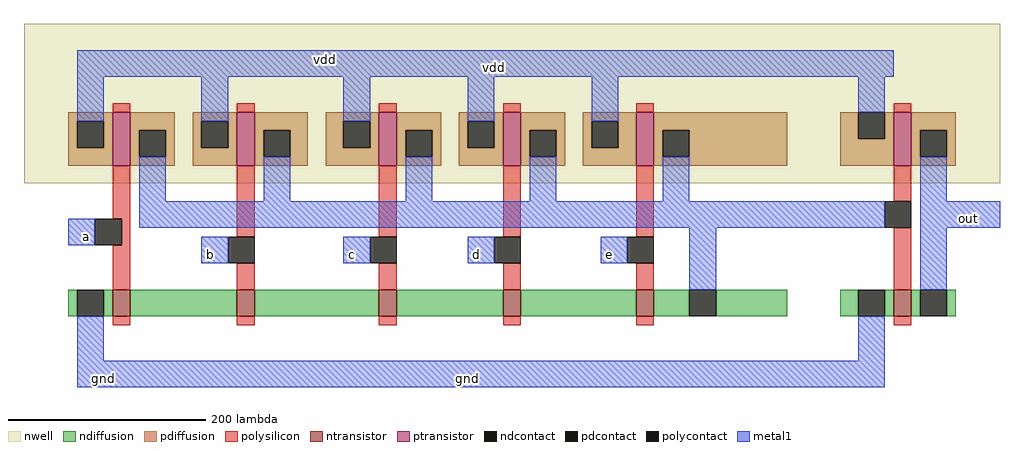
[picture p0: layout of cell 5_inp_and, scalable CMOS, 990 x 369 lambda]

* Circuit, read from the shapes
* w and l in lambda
.subckt 5_inp_and a b c d e gnd out vdd
M1 n1 a gnd VSUBS nfet w=27 l=18
M2 n2 b n1 VSUBS nfet w=27 l=18
M3 n3 c n2 VSUBS nfet w=27 l=18
M4 n4 d n3 VSUBS nfet w=27 l=18
M5 n5 e n4 VSUBS nfet w=27 l=18
M6 out n5 gnd VSUBS nfet w=27 l=18
M7 n5 a vdd n6 pfet w=54 l=18
M8 n5 b vdd n6 pfet w=54 l=18
M9 n5 c vdd n6 pfet w=54 l=18
M10 n5 d vdd n6 pfet w=54 l=18
M11 n5 e vdd n6 pfet w=54 l=18
M12 out n5 vdd n6 pfet w=54 l=18
.ends

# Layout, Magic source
magic
tech scmos
magscale 9 1
<< nwell >>
rect -17 -4 93 14
<< ntransistor >>
rect -7 -19 -5 -16
rect 7 -19 9 -16
rect 23 -19 25 -16
rect 37 -19 39 -16
rect 52 -19 54 -16
rect 81 -19 83 -16
<< ptransistor >>
rect -7 -2 -5 4
rect 7 -2 9 4
rect 23 -2 25 4
rect 37 -2 39 4
rect 52 -2 54 4
rect 81 -2 83 4
<< ndiffusion >>
rect -12 -19 -11 -16
rect -8 -19 -7 -16
rect -5 -19 7 -16
rect 9 -19 23 -16
rect 25 -19 37 -16
rect 39 -19 52 -16
rect 54 -19 58 -16
rect 61 -19 69 -16
rect 75 -19 77 -16
rect 80 -19 81 -16
rect 83 -19 84 -16
rect 87 -19 88 -16
<< pdiffusion >>
rect -12 3 -7 4
rect -12 0 -11 3
rect -8 0 -7 3
rect -12 -2 -7 0
rect -5 2 0 4
rect -5 -1 -4 2
rect -1 -1 0 2
rect -5 -2 0 -1
rect 2 3 7 4
rect 2 0 3 3
rect 6 0 7 3
rect 2 -2 7 0
rect 9 2 15 4
rect 9 -1 10 2
rect 13 -1 15 2
rect 9 -2 15 -1
rect 17 3 23 4
rect 17 0 19 3
rect 22 0 23 3
rect 17 -2 23 0
rect 25 2 30 4
rect 25 -1 26 2
rect 29 -1 30 2
rect 25 -2 30 -1
rect 32 3 37 4
rect 32 0 33 3
rect 36 0 37 3
rect 32 -2 37 0
rect 39 2 44 4
rect 39 -1 40 2
rect 43 -1 44 2
rect 39 -2 44 -1
rect 46 3 52 4
rect 46 0 47 3
rect 50 0 52 3
rect 46 -2 52 0
rect 54 2 69 4
rect 54 -1 55 2
rect 58 -1 69 2
rect 54 -2 69 -1
rect 75 1 77 4
rect 80 1 81 4
rect 75 -2 81 1
rect 83 2 88 4
rect 83 -1 84 2
rect 87 -1 88 2
rect 83 -2 88 -1
<< ndcontact >>
rect -11 -19 -8 -16
rect 58 -19 61 -16
rect 77 -19 80 -16
rect 84 -19 87 -16
<< pdcontact >>
rect -11 0 -8 3
rect -4 -1 -1 2
rect 3 0 6 3
rect 10 -1 13 2
rect 19 0 22 3
rect 26 -1 29 2
rect 33 0 36 3
rect 40 -1 43 2
rect 47 0 50 3
rect 55 -1 58 2
rect 77 1 80 4
rect 84 -1 87 2
<< polysilicon >>
rect -7 4 -5 5
rect 7 4 9 5
rect 23 4 25 5
rect 37 4 39 5
rect 52 4 54 5
rect 81 4 83 5
rect -7 -8 -5 -2
rect -6 -11 -5 -8
rect 7 -10 9 -2
rect 23 -10 25 -2
rect 37 -10 39 -2
rect 52 -10 54 -2
rect 81 -6 83 -2
rect -7 -16 -5 -11
rect 7 -16 9 -13
rect 23 -16 25 -13
rect 37 -16 39 -13
rect 52 -16 54 -13
rect 81 -16 83 -9
rect -7 -20 -5 -19
rect 7 -20 9 -19
rect 23 -20 25 -19
rect 37 -20 39 -19
rect 52 -20 54 -19
rect 81 -20 83 -19
<< polycontact >>
rect -9 -11 -6 -8
rect 80 -9 83 -6
rect 6 -13 9 -10
rect 22 -13 25 -10
rect 36 -13 39 -10
rect 51 -13 54 -10
<< metal1 >>
rect -11 8 81 11
rect -11 3 -8 8
rect 3 3 6 8
rect 19 3 22 8
rect -4 -6 -1 -1
rect 33 3 36 8
rect 10 -6 13 -1
rect 47 3 50 8
rect 26 -6 29 -1
rect 77 4 80 8
rect 40 -6 43 -1
rect 55 -6 58 -1
rect 84 -6 87 -1
rect -12 -11 -9 -8
rect -4 -9 80 -6
rect 84 -9 93 -6
rect 3 -13 6 -10
rect 19 -13 22 -10
rect 33 -13 36 -10
rect 48 -13 51 -10
rect 58 -16 61 -9
rect 84 -16 87 -9
rect -11 -24 -8 -19
rect 77 -24 80 -19
rect -11 -27 80 -24
<< labels >>
rlabel metal1 17 10 17 10 5 vdd
rlabel metal1 -8 -26 -8 -26 1 gnd
rlabel metal1 -10 -10 -10 -10 1 a
rlabel metal1 4 -12 4 -12 1 b
rlabel metal1 20 -12 20 -12 1 c
rlabel metal1 34 -12 34 -12 1 d
rlabel metal1 49 -12 49 -12 1 e
rlabel metal1 88 -9 91 -7 7 out
rlabel metal1 33 -26 33 -26 1 gnd
rlabel metal1 36 9 36 9 5 vdd
<< end >>
